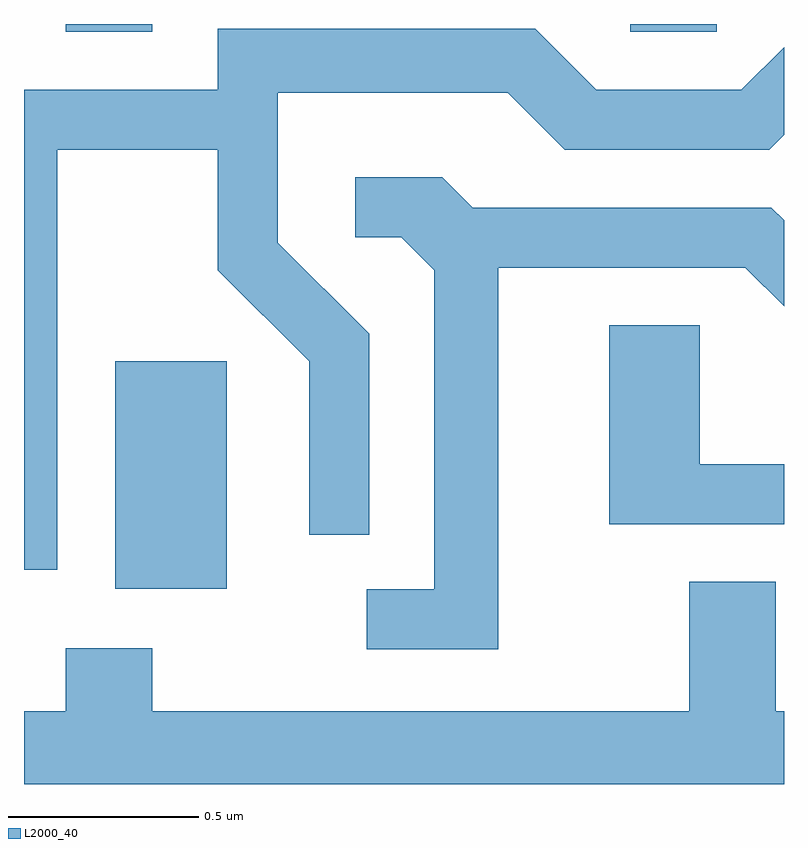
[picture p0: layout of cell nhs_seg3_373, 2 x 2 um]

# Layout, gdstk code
import gdstk
lib = gdstk.Library(unit=1e-6, precision=1e-09)
def R(c, l, rs):  # rectangles x0, y0, x1, y1
    for r in rs: c.add(gdstk.rectangle(r[:2], r[2:], *l))
def P(c, l, *ps):  # polygons
    for p in ps: c.add(gdstk.Polygon(p, *l))
L2000_40 = (2000, 40)

nhs_seg3_373 = lib.new_cell('nhs_seg3_373')
R(nhs_seg3_373, L2000_40, [(187.851,1215.406,188.144,1216.004), (187.721,1216.871,187.949,1216.892), (189.206,1216.871,189.434,1216.892)])
P(nhs_seg3_373, L2000_40, [(187.699,1216.561),(188.121,1216.561),(188.121,1216.244),(188.361,1216.004),(188.361,1215.548),(188.519,1215.548),(188.519,1216.077),(188.279,1216.317),(188.279,1216.711),(188.884,1216.711),(189.034,1216.561),(189.572,1216.561),(189.611,1216.6),(189.611,1216.831),(189.499,1216.719),(189.117,1216.719),(188.957,1216.879),(188.121,1216.879),(188.121,1216.719),(187.611,1216.719),(187.611,1215.456),(187.699,1215.456)],
  [(188.859,1216.251),(189.509,1216.251),(189.611,1216.149),(189.611,1216.375),(189.577,1216.409),(188.792,1216.409),(188.712,1216.489),(188.483,1216.489),(188.483,1216.331),(188.604,1216.331),(188.691,1216.244),(188.691,1215.404),(188.513,1215.404),(188.513,1215.246),(188.859,1215.246)],
  [(189.611,1215.734),(189.389,1215.734),(189.389,1216.099),(189.151,1216.099),(189.151,1215.576),(189.611,1215.576)],
  [(189.611,1215.084),(189.589,1215.084),(189.589,1215.424),(189.361,1215.424),(189.361,1215.084),(187.949,1215.084),(187.949,1215.249),(187.721,1215.249),(187.721,1215.084),(187.611,1215.084),(187.611,1214.892),(189.611,1214.892)])

lib.write_gds('nhs_seg3_373.gds')
